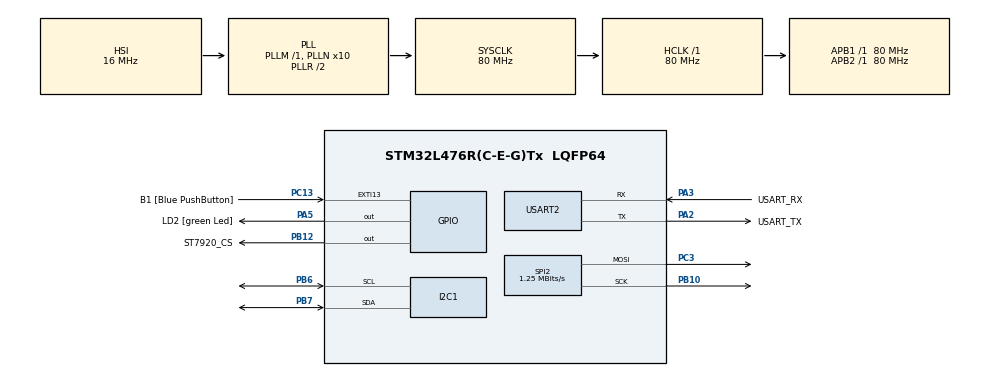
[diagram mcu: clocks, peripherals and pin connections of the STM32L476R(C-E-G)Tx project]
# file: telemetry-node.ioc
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Dma.Request0=USART2_TX
Dma.USART2_TX.0.Direction=DMA_MEMORY_TO_PERIPH
Dma.USART2_TX.0.Instance=DMA1_Channel7
Dma.USART2_TX.0.MemDataAlignment=DMA_MDATAALIGN_BYTE
Dma.USART2_TX.0.MemInc=DMA_MINC_ENABLE
Dma.USART2_TX.0.Mode=DMA_NORMAL
Dma.USART2_TX.0.PeriphDataAlignment=DMA_PDATAALIGN_BYTE
Dma.USART2_TX.0.PeriphInc=DMA_PINC_DISABLE
Dma.USART2_TX.0.Priority=DMA_PRIORITY_LOW
FREERTOS.BinarySemaphores01=uartDmaDoneSem,Dynamic,NULL,Available
FREERTOS.Mutexes01=i2cBusMutex,Dynamic,NULL,Available
FREERTOS.Queues01=sensorDisplayQueue,1,40,1,Dynamic,NULL,NULL;logQueue,16,64,1,Dynamic,NULL,NULL
FREERTOS.Tasks01=defaultTask,24,128,StartDefaultTask,Default,NULL,Dynamic,NULL,NULL;envTask,24,256,StartEnvTask,Default,NULL,Dynamic,NULL,NULL;imuTask,40,256,StartImuTask,Default,NULL,Dynamic,NULL,NULL;displayTask,16,256,StartDisplayTask,Default,NULL,Dynamic,NULL,NULL;loggerTask,16,512,StartLoggerTask,Default,NULL,Dynamic,NULL,NULL
FREERTOS.configTOTAL_HEAP_SIZE=8000
I2C1.Timing=0x10D19CE4
Mcu.Family=STM32L4
Mcu.Name=STM32L476R(C-E-G)Tx
Mcu.Package=LQFP64
NVIC.DMA1_Channel7_IRQn=true\:5\:0\:false\:false\:true\:true\:false\:true\:true
NVIC.PriorityGroup=NVIC_PRIORITYGROUP_4
NVIC.TIM6_DAC_IRQn=true\:15\:0\:false\:false\:true\:false\:false\:true\:true
NVIC.TimeBase=TIM6_DAC_IRQn
NVIC.TimeBaseIP=TIM6
NVIC.USART2_IRQn=true\:5\:0\:false\:false\:true\:true\:true\:true\:true
PA13\ (JTMS-SWDIO).GPIO_Label=TMS
PA13\ (JTMS-SWDIO).Signal=SYS_JTMS-SWDIO
PA14\ (JTCK-SWCLK).GPIO_Label=TCK
PA14\ (JTCK-SWCLK).Signal=SYS_JTCK-SWCLK
PA2.GPIO_Label=USART_TX
PA2.GPIO_Mode=GPIO_MODE_AF_PP
PA2.GPIO_PuPd=GPIO_NOPULL
PA2.GPIO_Speed=GPIO_SPEED_FREQ_VERY_HIGH
PA2.Mode=Asynchronous
PA2.Signal=USART2_TX
PA3.GPIO_Label=USART_RX
PA3.GPIO_Mode=GPIO_MODE_AF_PP
PA3.GPIO_PuPd=GPIO_NOPULL
PA3.GPIO_Speed=GPIO_SPEED_FREQ_VERY_HIGH
PA3.Mode=Asynchronous
PA3.Signal=USART2_RX
PA5.GPIO_Label=LD2 [green Led]
PA5.GPIO_ModeDefaultOutputPP=GPIO_MODE_OUTPUT_PP
PA5.GPIO_PuPd=GPIO_NOPULL
PA5.GPIO_Speed=GPIO_SPEED_FREQ_LOW
PA5.PinState=GPIO_PIN_RESET
PA5.Signal=GPIO_Output
PB10.Mode=TX_Only_Simplex_Unidirect_Master
PB10.Signal=SPI2_SCK
PB12.GPIO_Label=ST7920_CS
PB12.PinState=GPIO_PIN_SET
PB12.Signal=GPIO_Output
PB3\ (JTDO-TRACESWO).GPIO_Label=SWO
PB3\ (JTDO-TRACESWO).Signal=SYS_JTDO-SWO
PB6.Mode=I2C
PB6.Signal=I2C1_SCL
PB7.Mode=I2C
PB7.Signal=I2C1_SDA
PC13.GPIO_Label=B1 [Blue PushButton]
PC13.GPIO_ModeDefaultEXTI=GPIO_MODE_IT_FALLING
PC13.GPIO_PuPd=GPIO_NOPULL
PC13.Signal=GPXTI13
PC14-OSC32_IN\ (PC14).Signal=RCC_OSC32_IN
PC15-OSC32_OUT\ (PC15).Signal=RCC_OSC32_OUT
PC3.Mode=TX_Only_Simplex_Unidirect_Master
PC3.Signal=SPI2_MOSI
PH0-OSC_IN\ (PH0).Signal=RCC_OSC_IN
PH1-OSC_OUT\ (PH1).Signal=RCC_OSC_OUT
ProjectManager.HeapSize=0x200
ProjectManager.StackSize=0x400
ProjectManager.TargetToolchain=Makefile
RCC.ADCFreq_Value=64000000
RCC.AHBFreq_Value=80000000
RCC.APB1Freq_Value=80000000
RCC.APB1TimFreq_Value=80000000
RCC.APB2Freq_Value=80000000
RCC.APB2TimFreq_Value=80000000
RCC.CortexFreq_Value=80000000
RCC.HCLKFreq_Value=80000000
RCC.HSE_VALUE=8000000
RCC.HSI_VALUE=16000000
RCC.LSE_VALUE=32768
RCC.MSI_VALUE=4000000
RCC.PLLN=10
RCC.PLLSourceVirtual=RCC_PLLSOURCE_HSI
RCC.PREFETCH_ENABLE=1
RCC.SYSCLKFreq_VALUE=80000000
RCC.SYSCLKSource=RCC_SYSCLKSOURCE_PLLCLK
RCC.USBFreq_Value=64000000
RCC.VCOOutputFreq_Value=160000000
SPI2.BaudRatePrescaler=SPI_BAUDRATEPRESCALER_64
SPI2.CLKPhase=SPI_PHASE_2EDGE
SPI2.CLKPolarity=SPI_POLARITY_HIGH
SPI2.CalculateBaudRate=1.25 MBits/s
SPI2.DataSize=SPI_DATASIZE_8BIT
SPI2.Direction=SPI_DIRECTION_2LINES
SPI2.Mode=SPI_MODE_MASTER
SPI2.VirtualType=VM_MASTER
USART2.VirtualMode-Asynchronous=VM_ASYNC
VP_FREERTOS_VS_CMSIS_V2.Mode=CMSIS_V2
VP_SYS_VS_tim6.Mode=TIM6
board=NUCLEO-L476RG

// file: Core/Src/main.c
/* USER CODE BEGIN Header */
/**
 ******************************************************************************
 * @file           : main.c
 * @brief          : Main program body
 ******************************************************************************
 * @attention
 *
 * Copyright (c) 2026 STMicroelectronics.
 * All rights reserved.
 *
 * This software is licensed under terms that can be found in the LICENSE file
 * in the root directory of this software component.
 * If no LICENSE file comes with this software, it is provided AS-IS.
 *
 ******************************************************************************
 */
/* USER CODE END Header */
#include "main.h"
#include "cmsis_os.h"
#include "dma.h"
#include "gpio.h"
#include "i2c.h"
#include "spi.h"
#include "usart.h"

/* USER CODE BEGIN Includes */
#include "aht20.h"
#include "bmp280.h"
#include "mpu6050.h"
#include "st7920.h"
#include <stdio.h>
/* USER CODE END Includes */

/* USER CODE BEGIN PD */
#define I2C_AHT20_ADDRESS (0x38 << 1)
/* USER CODE END PD */

/* USER CODE BEGIN PV */
BMP280_HandleTypedef bmp280;
AHT20_HandleTypedef aht20;
MPU6050_HandleTypedef mpu6050;
ST7920_HandleTypedef st7920;
/* USER CODE END PV */

void SystemClock_Config(void);
void MX_FREERTOS_Init(void);

/* USER CODE BEGIN 0 */
int _write(int file, char *ptr, int len) {
  HAL_UART_Transmit(&huart2, (uint8_t *)ptr, len, HAL_MAX_DELAY);
  return len;
}
/* USER CODE END 0 */

int main(void) {

  /* MCU Configuration--------------------------------------------------------*/

  /* Reset of all peripherals, Initializes the Flash interface and the Systick.
   */
  HAL_Init();

  /* Configure the system clock */
  SystemClock_Config();

  /* Initialize all configured peripherals */
  MX_GPIO_Init();
  MX_DMA_Init();
  MX_I2C1_Init();
  MX_USART2_UART_Init();
  MX_SPI2_Init();
  /* USER CODE BEGIN 2 */
  BMP280_StatusTypedef bmp_status = BMP280_Init(&bmp280, &hi2c1);
  if (bmp_status == BMP280_OK) {
    printf("BMP280 Initialized!\r\n");
  } else {
    printf("BMP280 Initialization failed with error code: %d\r\n", bmp_status);
  }

  AHT20_StatusTypedef aht_status = AHT20_Init(&aht20, &hi2c1);
  if (aht_status == AHT20_OK) {
    printf("AHT20 Initialized!\r\n");
  } else {
    printf("AHT20 Initialization failed with error code: %d\r\n", aht_status);
  }

  MPU6050_StatusTypedef mpu_status = MPU6050_Init(&mpu6050, &hi2c1);
  if (mpu_status == MPU6050_OK) {
    MPU6050_Calibrate(&mpu6050, 200);
    printf("MPU6050 Initialized!\r\n");
  } else {
    printf("MPU6050 Initialization failed with error code: %d\r\n", mpu_status);
  }

  ST7920_StatusTypeDef st_status =
      ST7920_Init(&st7920, &hspi2, GPIOB, GPIO_PIN_12);
  if (st_status == ST7920_OK) {
    printf("ST7920 Initialized!\r\n");
  } else {
    printf("ST7920 Initialization failed with error code: %d\r\n", st_status);
  }

  HAL_Delay(50);
  /* USER CODE END 2 */

  /* Init scheduler */
  osKernelInitialize(); /* Call init function for freertos objects (in
                           cmsis_os2.c) */
  MX_FREERTOS_Init();

  /* Start scheduler */
  osKernelStart();

  /* We should never get here as control is now taken by the scheduler */

  /* Infinite loop */
  while (1) {

  }
}

void SystemClock_Config(void) {
  RCC_OscInitTypeDef RCC_OscInitStruct = {0};
  RCC_ClkInitTypeDef RCC_ClkInitStruct = {0};

  /** Configure the main internal regulator output voltage
   */
  if (HAL_PWREx_ControlVoltageScaling(PWR_REGULATOR_VOLTAGE_SCALE1) != HAL_OK) {
    Error_Handler();
  }

  /** Initializes the RCC Oscillators according to the specified parameters
   * in the RCC_OscInitTypeDef structure.
   */
  RCC_OscInitStruct.OscillatorType = RCC_OSCILLATORTYPE_HSI;
  RCC_OscInitStruct.HSIState = RCC_HSI_ON;
  RCC_OscInitStruct.HSICalibrationValue = RCC_HSICALIBRATION_DEFAULT;
  RCC_OscInitStruct.PLL.PLLState = RCC_PLL_ON;
  RCC_OscInitStruct.PLL.PLLSource = RCC_PLLSOURCE_HSI;
  RCC_OscInitStruct.PLL.PLLM = 1;
  RCC_OscInitStruct.PLL.PLLN = 10;
  RCC_OscInitStruct.PLL.PLLP = RCC_PLLP_DIV7;
  RCC_OscInitStruct.PLL.PLLQ = RCC_PLLQ_DIV2;
  RCC_OscInitStruct.PLL.PLLR = RCC_PLLR_DIV2;
  if (HAL_RCC_OscConfig(&RCC_OscInitStruct) != HAL_OK) {
    Error_Handler();
  }

  /** Initializes the CPU, AHB and APB buses clocks
   */
  RCC_ClkInitStruct.ClockType = RCC_CLOCKTYPE_HCLK | RCC_CLOCKTYPE_SYSCLK |
                                RCC_CLOCKTYPE_PCLK1 | RCC_CLOCKTYPE_PCLK2;
  RCC_ClkInitStruct.SYSCLKSource = RCC_SYSCLKSOURCE_PLLCLK;
  RCC_ClkInitStruct.AHBCLKDivider = RCC_SYSCLK_DIV1;
  RCC_ClkInitStruct.APB1CLKDivider = RCC_HCLK_DIV1;
  RCC_ClkInitStruct.APB2CLKDivider = RCC_HCLK_DIV1;

  if (HAL_RCC_ClockConfig(&RCC_ClkInitStruct, FLASH_LATENCY_4) != HAL_OK) {
    Error_Handler();
  }
}

void HAL_TIM_PeriodElapsedCallback(TIM_HandleTypeDef *htim) {
  if (htim->Instance == TIM6) {
    HAL_IncTick();
  }
}

void Error_Handler(void) {
  /* USER CODE BEGIN Error_Handler_Debug */
  /* User can add his own implementation to report the HAL error return state
   */
  __disable_irq();
  while (1) {
  }
  /* USER CODE END Error_Handler_Debug */
}
#ifdef USE_FULL_ASSERT
/**
 * @brief  Reports the name of the source file and the source line number
 *         where the assert_param error has occurred.
 * @param  file: pointer to the source file name
 * @param  line: assert_param error line source number
 * @retval None
 */
void assert_failed(uint8_t *file, uint32_t line) {
  /* USER CODE BEGIN 6 */
  /* User can add his own implementation to report the file name and line
     number, ex: printf("Wrong parameters value: file %s on line %d\r\n",
     file, line) */
  /* USER CODE END 6 */
}
#endif /* USE_FULL_ASSERT */

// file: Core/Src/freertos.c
/* USER CODE BEGIN Header */
/**
 ******************************************************************************
 * File Name          : freertos.c
 * Description        : Code for freertos applications
 ******************************************************************************
 * @attention
 *
 * Copyright (c) 2026 STMicroelectronics.
 * All rights reserved.
 *
 * This software is licensed under terms that can be found in the LICENSE file
 * in the root directory of this software component.
 * If no LICENSE file comes with this software, it is provided AS-IS.
 *
 ******************************************************************************
 */
/* USER CODE END Header */

#include "FreeRTOS.h"
#include "cmsis_os.h"
#include "cmsis_os2.h"
#include "main.h"
#include "projdefs.h"
#include "task.h"

/* USER CODE BEGIN Includes */
#include "aht20.h"
#include "bmp280.h"
#include "mpu6050.h"
#include "st7920.h"
#include "usart.h"
#include <stdarg.h>
#include <stdio.h>
#include <string.h>

extern BMP280_HandleTypedef bmp280;
extern AHT20_HandleTypedef aht20;
extern MPU6050_HandleTypedef mpu6050;
extern ST7920_HandleTypedef st7920;
/* USER CODE END Includes */

/* USER CODE BEGIN PTD */
typedef struct {
  uint8_t bmp_ok;
  uint8_t aht_ok;
  uint8_t mpu_ok;

  uint16_t press_hpa_int;
  uint8_t press_hpa_frac;
  int8_t bmp_temp_int;

  int8_t aht_temp_int;
  uint8_t aht_hum_int;

  int8_t ax_i, ay_i, az_i;
  uint8_t ax_f, ay_f, az_f;

  int16_t gx, gy, gz;
} telemetry_t;

typedef struct {
  char str[64];
} log_msg_t;
/* USER CODE END PTD */

/* USER CODE BEGIN Variables */
static telemetry_t g_telemetry = {0};
/* USER CODE END Variables */
/* Definitions for defaultTask */
osThreadId_t defaultTaskHandle;
const osThreadAttr_t defaultTask_attributes = {
    .name = "defaultTask",
    .stack_size = 128 * 4,
    .priority = (osPriority_t)osPriorityNormal,
};
/* Definitions for envTask */
osThreadId_t envTaskHandle;
const osThreadAttr_t envTask_attributes = {
    .name = "envTask",
    .stack_size = 256 * 4,
    .priority = (osPriority_t)osPriorityNormal,
};
/* Definitions for imuTask */
osThreadId_t imuTaskHandle;
const osThreadAttr_t imuTask_attributes = {
    .name = "imuTask",
    .stack_size = 256 * 4,
    .priority = (osPriority_t)osPriorityAboveNormal,
};
/* Definitions for displayTask */
osThreadId_t displayTaskHandle;
const osThreadAttr_t displayTask_attributes = {
    .name = "displayTask",
    .stack_size = 256 * 4,
    .priority = (osPriority_t)osPriorityBelowNormal,
};
/* Definitions for loggerTask */
osThreadId_t loggerTaskHandle;
const osThreadAttr_t loggerTask_attributes = {
    .name = "loggerTask",
    .stack_size = 512 * 4,
    .priority = (osPriority_t)osPriorityHigh,
};
/* Definitions for sensorDisplayQueue */
osMessageQueueId_t sensorDisplayQueueHandle;
const osMessageQueueAttr_t sensorDisplayQueue_attributes = {
    .name = "sensorDisplayQueue"};
/* Definitions for logQueue */
osMessageQueueId_t logQueueHandle;
const osMessageQueueAttr_t logQueue_attributes = {.name = "logQueue"};
/* Definitions for i2cBusMutex */
osMutexId_t i2cBusMutexHandle;
const osMutexAttr_t i2cBusMutex_attributes = {.name = "i2cBusMutex"};
/* Definitions for uartDmaDoneSem */
osSemaphoreId_t uartDmaDoneSemHandle;
const osSemaphoreAttr_t uartDmaDoneSem_attributes = {.name = "uartDmaDoneSem"};

/* USER CODE BEGIN FunctionPrototypes */
static void log_print(const char *fmt, ...);
/* USER CODE END FunctionPrototypes */

void StartDefaultTask(void *argument);
void StartEnvTask(void *argument);
void StartImuTask(void *argument);
void StartDisplayTask(void *argument);
void StartLoggerTask(void *argument);

void MX_FREERTOS_Init(void); /* (MISRA C 2004 rule 8.1) */

void MX_FREERTOS_Init(void) {
  /* Create the mutex(es) */
  /* creation of i2cBusMutex */
  i2cBusMutexHandle = osMutexNew(&i2cBusMutex_attributes);

  /* Create the semaphores(s) */
  /* creation of uartDmaDoneSem */
  uartDmaDoneSemHandle = osSemaphoreNew(1, 0, &uartDmaDoneSem_attributes);

  /* Create the queue(s) */
  /* creation of sensorDisplayQueue */
  sensorDisplayQueueHandle =
      osMessageQueueNew(1, 40, &sensorDisplayQueue_attributes);

  /* creation of logQueue */
  logQueueHandle = osMessageQueueNew(16, 64, &logQueue_attributes);

  /* Create the thread(s) */
  /* creation of defaultTask */
  defaultTaskHandle =
      osThreadNew(StartDefaultTask, NULL, &defaultTask_attributes);

  /* creation of envTask */
  envTaskHandle = osThreadNew(StartEnvTask, NULL, &envTask_attributes);

  /* creation of imuTask */
  imuTaskHandle = osThreadNew(StartImuTask, NULL, &imuTask_attributes);

  /* creation of displayTask */
  displayTaskHandle =
      osThreadNew(StartDisplayTask, NULL, &displayTask_attributes);

  /* creation of loggerTask */
  loggerTaskHandle = osThreadNew(StartLoggerTask, NULL, &loggerTask_attributes);

}

void StartDefaultTask(void *argument) {
  /* USER CODE BEGIN StartDefaultTask */
  /* Infinite loop */
  for (;;) {
    osDelay(1000);
  }
  /* USER CODE END StartDefaultTask */
}

void StartEnvTask(void *argument) {
  /* USER CODE BEGIN StartEnvTask */
  int32_t adc_T, adc_P;

  for (;;) {
    if (osMutexAcquire(i2cBusMutexHandle, pdMS_TO_TICKS(100)) == osOK) {
      /* BMP280 Read & Compensate */
      if (BMP280_ReadRaw(&bmp280, &adc_T, &adc_P) == BMP280_OK) {
        int32_t temp_raw = BMP280_Compensate_T(&bmp280, adc_T);
        uint32_t press_raw = BMP280_Compensate_P(&bmp280, adc_P);

        uint32_t press_pa = press_raw / 256;
        g_telemetry.press_hpa_int = (uint16_t)(press_pa / 100);
        g_telemetry.press_hpa_frac = (uint8_t)(press_pa % 100);
        g_telemetry.bmp_temp_int = (int8_t)(temp_raw / 100);
        g_telemetry.bmp_ok = 1;

        log_print("BMP280  -> P:%u.%02u hPa T:%d C\r\n",
                  g_telemetry.press_hpa_int, g_telemetry.press_hpa_frac,
                  g_telemetry.bmp_temp_int);
      } else {
        g_telemetry.bmp_ok = 0;
        log_print("BMP280   -> Disconected!\r\n");
      }
      /* AHT20 Read */
      if (AHT20_ReadData(&aht20) == AHT20_OK) {
        g_telemetry.aht_temp_int = (int8_t)aht20.temperature;
        g_telemetry.aht_hum_int = (uint8_t)aht20.humidity;
        g_telemetry.aht_ok = 1;

        log_print("AHT20   -> T:%d C H:%u %%\r\n", g_telemetry.aht_temp_int,
                  g_telemetry.aht_hum_int);
      } else {
        g_telemetry.aht_ok = 0;
        log_print("AHT20   -> Disconected!\r\n");
      }
      osMutexRelease(i2cBusMutexHandle);
    }
    osMessageQueuePut(sensorDisplayQueueHandle, &g_telemetry, 0, 0);
    osDelay(500);
  }
  /* USER CODE END StartEnvTask */
}

void StartImuTask(void *argument) {
  /* USER CODE BEGIN StartImuTask */
  uint32_t last_wake_time = osKernelGetTickCount();

  for (;;) {
    if (osMutexAcquire(i2cBusMutexHandle, pdMS_TO_TICKS(100)) == osOK) {
      if (MPU6050_ReadAll(&mpu6050) == MPU6050_OK) {
        int32_t ax_int = (int32_t)mpu6050.Ax;
        int32_t ax_frac = (int32_t)((mpu6050.Ax - ax_int) * 100);
        if (ax_frac < 0)
          ax_frac = -ax_frac;

        int32_t ay_int = (int32_t)mpu6050.Ay;
        int32_t ay_frac = (int32_t)((mpu6050.Ay - ay_int) * 100);
        if (ay_frac < 0)
          ay_frac = -ay_frac;

        int32_t az_int = (int32_t)mpu6050.Az;
        int32_t az_frac = (int32_t)((mpu6050.Az - az_int) * 100);
        if (az_frac < 0)
          az_frac = -az_frac;

        g_telemetry.ax_i =
            (int8_t)(ax_int > 9 ? 9 : (ax_int < -9 ? -9 : ax_int));
        g_telemetry.ax_f = (uint8_t)(ax_frac % 100);

        g_telemetry.ay_i =
            (int8_t)(ay_int > 9 ? 9 : (ay_int < -9 ? -9 : ay_int));
        g_telemetry.ay_f = (uint8_t)(ay_frac % 100);

        g_telemetry.az_i =
            (int8_t)(az_int > 9 ? 9 : (az_int < -9 ? -9 : az_int));
        g_telemetry.az_f = (uint8_t)(az_frac % 100);

        g_telemetry.gx = (int16_t)mpu6050.Gx;
        g_telemetry.gy = (int16_t)mpu6050.Gy;
        g_telemetry.gz = (int16_t)mpu6050.Gz;
        g_telemetry.mpu_ok = 1;

        log_print(
            "MPU6050 -> Acc: %d.%02u, %d.%02u, %d.%02u | Gyro: %d, %d, %d\r\n",
            g_telemetry.ax_i, g_telemetry.ax_f, g_telemetry.ay_i,
            g_telemetry.ay_f, g_telemetry.az_i, g_telemetry.az_f,
            g_telemetry.gx, g_telemetry.gy, g_telemetry.gz);
      } else {
        g_telemetry.mpu_ok = 0;
        log_print("MPU6050 -> Disconected!\r\n");
      }
      osMutexRelease(i2cBusMutexHandle);
    }
    osMessageQueuePut(sensorDisplayQueueHandle, &g_telemetry, 0, 0);
    osDelayUntil(last_wake_time += pdMS_TO_TICKS(50));
  }
  /* USER CODE END StartImuTask */
}

void StartDisplayTask(void *argument) {
  /* USER CODE BEGIN StartDisplayTask */
  telemetry_t data;
  char lcd_buf[17];

  for (;;) {
    if (osMessageQueueGet(sensorDisplayQueueHandle, &data, NULL,
                          osWaitForever) == osOK) {
      /* Line 0: Pressure (BMP280) */
      if (data.bmp_ok) {
        snprintf(lcd_buf, sizeof(lcd_buf), "P:%4u hPa   ",
                 (unsigned int)(data.press_hpa_int % 10000));
      } else {
        snprintf(lcd_buf, sizeof(lcd_buf), "P: ERR         ");
      }
      ST7920_SendString(&st7920, 0, 0, lcd_buf);

      /* Line 1: Temp & Humidity (AHT20) */
      if (data.aht_ok) {
        int temp = (data.aht_temp_int > 99)
                       ? 99
                       : ((data.aht_temp_int < -99) ? -99 : data.aht_temp_int);
        unsigned int hum = (data.aht_hum_int > 99) ? 99 : data.aht_hum_int;
        snprintf(lcd_buf, sizeof(lcd_buf), "T:%2dC H:%2u%%    ", temp, hum);
      } else {
        snprintf(lcd_buf, sizeof(lcd_buf), "T: ERR H: ERR  ");
      }
      ST7920_SendString(&st7920, 1, 0, lcd_buf);

      /* Line 2 & 3: IMU (MPU6050) */
      if (data.mpu_ok) {
        int ax = (data.ax_i > 9) ? 9 : ((data.ax_i < -9) ? -9 : data.ax_i);
        int ay = (data.ay_i > 9) ? 9 : ((data.ay_i < -9) ? -9 : data.ay_i);
        int az = (data.az_i > 9) ? 9 : ((data.az_i < -9) ? -9 : data.az_i);
        snprintf(lcd_buf, sizeof(lcd_buf), "A%2d.%02u%2d.%02u%2d.%02u", ax,
                 (unsigned int)(data.ax_f % 100), ay,
                 (unsigned int)(data.ay_f % 100), az,
                 (unsigned int)(data.az_f % 100));
        ST7920_SendString(&st7920, 2, 0, lcd_buf);

        int gx = (data.gx > 99) ? 99 : ((data.gx < -99) ? -99 : data.gx);
        int gy = (data.gy > 99) ? 99 : ((data.gy < -99) ? -99 : data.gy);
        int gz = (data.gz > 99) ? 99 : ((data.gz < -99) ? -99 : data.gz);
        snprintf(lcd_buf, sizeof(lcd_buf), "G:%3d%3d%3d d/s ", gx, gy, gz);
        ST7920_SendString(&st7920, 3, 0, lcd_buf);
      } else {
        ST7920_SendString(&st7920, 2, 0, "A: DISCONNECTED ");
        ST7920_SendString(&st7920, 3, 0, "G: DISCONNECTED ");
      }
    }
  }
  /* USER CODE END StartDisplayTask */
}

void StartLoggerTask(void *argument) {
  /* USER CODE BEGIN StartLoggerTask */
  log_msg_t msg;

  for (;;) {
    if (osMessageQueueGet(logQueueHandle, &msg, NULL, osWaitForever) == osOK) {
      uint16_t len = (uint16_t)strlen(msg.str);
      if (HAL_UART_Transmit_DMA(&huart2, (uint8_t *)msg.str, len) == HAL_OK) {
        osSemaphoreAcquire(uartDmaDoneSemHandle, pdMS_TO_TICKS(100));
      }
    }
  }
  /* USER CODE END StartLoggerTask */
}

/* USER CODE BEGIN Application */
static void log_print(const char *fmt, ...) {
  log_msg_t msg;
  va_list args;
  va_start(args, fmt);
  vsnprintf(msg.str, sizeof(msg.str), fmt, args);
  va_end(args);

  osMessageQueuePut(logQueueHandle, &msg, 0, 0);
}

void HAL_UART_TxCpltCallback(UART_HandleTypeDef *huart) {
  if (huart->Instance == USART2) {
    osSemaphoreRelease(uartDmaDoneSemHandle);
  }
}
/* USER CODE END Application */
